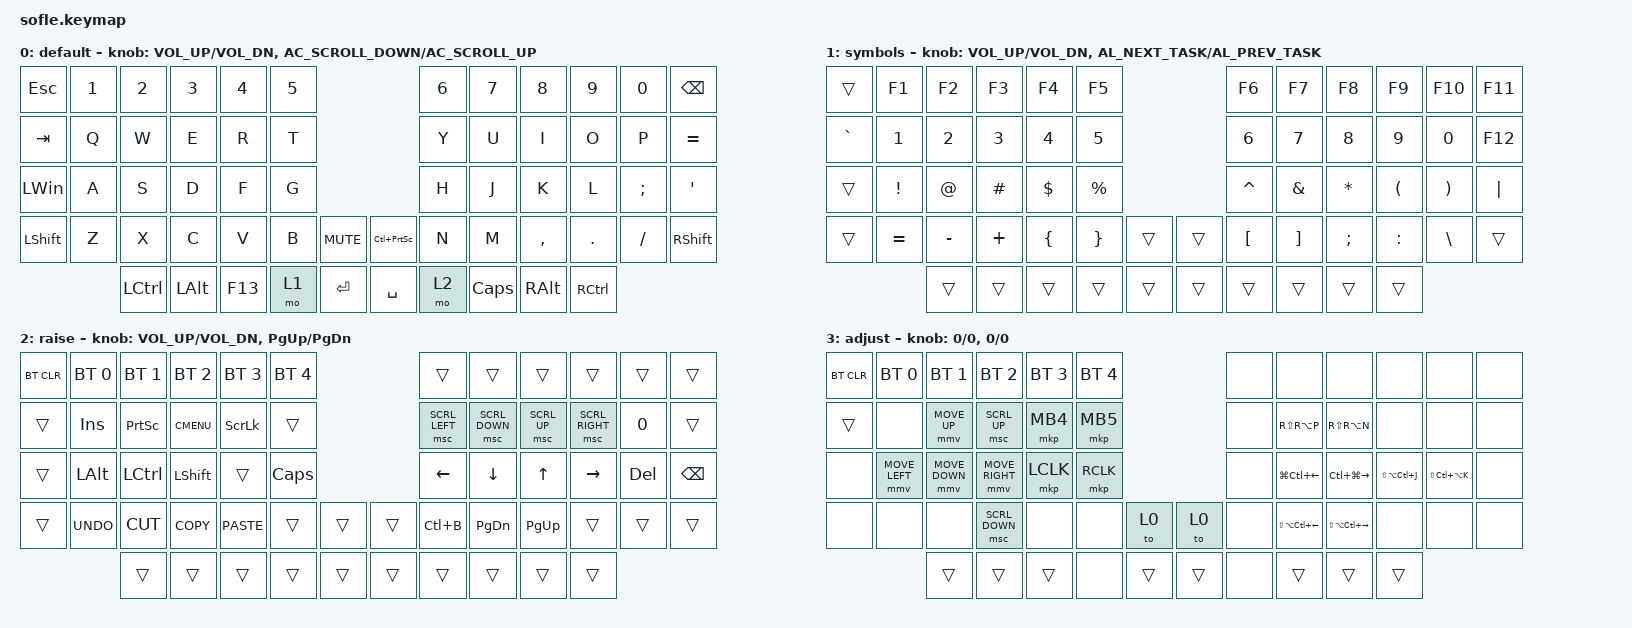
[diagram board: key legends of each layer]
/*
 * Copyright (c) 2020 The ZMK Contributors
 *
 * SPDX-License-Identifier: MIT
 */

#include <behaviors.dtsi>
#include <dt-bindings/zmk/bt.h>
#include <dt-bindings/zmk/keys.h>
#include <dt-bindings/zmk/pointing.h>

#define BASE 0
#define LOWER 1
#define RAISE 2
#define ADJUST 3
#define WIN 4

/ {
    // Activate ADJUST layer by pressing raise and lower

    conditional_layers {
        compatible = "zmk,conditional-layers";

        adjust_layer {
            if-layers = <1 2>;
            then-layer = <3>;
        };
    };

    keymap {
        compatible = "zmk,keymap";

        default_layer {
            display-name = "default";

            // ------------------------------------------------------------------------------------------------------------
            // |   `   |  1  |  2  |  3   |  4   |  5   |                   |  6   |  7    |  8    |  9   |   0   |       |
            // |  ESC  |  Q  |  W  |  E   |  R   |  T   |                   |  Y   |  U    |  I    |  O   |   P   | BKSPC |
            // |  TAB  |  A  |  S  |  D   |  F   |  G   |                   |  H   |  J    |  K    |  L   |   ;   |   '   |
            // | SHIFT |  Z  |  X  |  C   |  V   |  B   |  MUTE  |  |       |  N   |  M    |  ,    |  .   |   /   | SHIFT |
            //               | GUI | ALT  | CTRL | LOWER|  ENTER |  | SPACE | RAISE| CTRL  | ALT   | GUI  |

            bindings = <
&kp ESCAPE  &kp N1  &kp N2     &kp N3    &kp N4   &kp N5                                     &kp N6  &kp N7    &kp N8     &kp N9     &kp N0    &kp BACKSPACE
&kp TAB     &kp Q   &kp W      &kp E     &kp R    &kp T                                      &kp Y   &kp U     &kp I      &kp O      &kp P     &kp EQUAL
&kp LWIN    &kp A   &kp S      &kp D     &kp F    &kp G                                      &kp H   &kp J     &kp K      &kp L      &kp SEMI  &kp SQT
&kp LSHFT   &kp Z   &kp X      &kp C     &kp V    &kp B   &kp C_MUTE    &kp LC(PRINTSCREEN)  &kp N   &kp M     &kp COMMA  &kp DOT    &kp FSLH  &kp RSHFT
                    &kp LCTRL  &kp LALT  &kp F13  &mo 1   &kp RET       &kp SPACE            &mo 2   &kp CAPS  &kp RALT   &kp RCTRL
            >;

            sensor-bindings =
                <&inc_dec_kp C_VOL_UP C_VOL_DN>,
                <&inc_dec_kp C_AC_SCROLL_DOWN C_AC_SCROLL_UP>;
        };

        lower_layer {
            display-name = "symbols";

            // TODO: Some binds are waiting for shifted keycode support.
            // ------------------------------------------------------------------------------------------------------------
            // |       |  F1 |  F2 |  F3  |  F4  |  F5  |                   |  F6  |  F7   |  F8   |  F9  |  F10  |  F11  |
            // |   `   |  1  |  2  |  3   |  4   |  5   |                   |  6   |  7    |  8    |  9   |   0   |  F12  |
            // |       |  !  |  @  |  #   |  $   |  %   |                   |  ^   |  &    |  *    |  (   |   )   |   |   |
            // |       |  =  |  -  |  +   |  {   |  }   |        |  |       |  [   |  ]    |  ;    |  :   |   \   |       |
            //               |     |      |      |      |        |  |       |      |       |       |      |

            bindings = <
&trans     &kp F1     &kp F2     &kp F3    &kp F4    &kp F5                       &kp F6     &kp F7    &kp F8     &kp F9     &kp F10   &kp F11
&kp GRAVE  &kp N1     &kp N2     &kp N3    &kp N4    &kp N5                       &kp N6     &kp N7    &kp N8     &kp N9     &kp N0    &kp F12
&trans     &kp EXCL   &kp AT     &kp HASH  &kp DLLR  &kp PRCNT                    &kp CARET  &kp AMPS  &kp ASTRK  &kp LPAR   &kp RPAR  &kp PIPE
&trans     &kp EQUAL  &kp MINUS  &kp PLUS  &kp LBRC  &kp RBRC   &trans    &trans  &kp LBKT   &kp RBKT  &kp SEMI   &kp COLON  &kp BSLH  &trans
                      &trans     &trans    &trans    &trans     &trans    &trans  &trans     &trans    &trans     &trans
            >;

            sensor-bindings =
                <&inc_dec_kp C_VOL_UP C_VOL_DN>,
                <&inc_dec_kp C_AL_NEXT_TASK C_AL_PREV_TASK>;
        };

        raise_layer {
            display-name = "raise";

            // ------------------------------------------------------------------------------------------------------------
            // | BTCLR | BT1  | BT2  |  BT3  |  BT4  |  BT5 |                |      |      |       |      |       |       |
            // |       | INS  | PSCR | GUI   |       |      |                | PGUP |      |   ^   |      |       |       |
            // |       | ALT  | CTRL | SHIFT |       | CAPS |                | PGDN |   <- |   v   |  ->  |  DEL  | BKSPC |
            // |       | UNDO | CUT  | COPY  | PASTE |      |      |  |      |      |      |       |      |       |       |
            //                |      |       |       |      |      |  |      |      |      |       |      |

            bindings = <
&bt BT_CLR  &bt BT_SEL 0  &bt BT_SEL 1  &bt BT_SEL 2  &bt BT_SEL 3    &bt BT_SEL 4                    &trans          &trans          &trans        &trans           &trans   &trans
&trans      &kp INS       &kp PSCRN     &kp K_CMENU   &kp SCROLLLOCK  &trans                          &msc SCRL_LEFT  &msc SCRL_DOWN  &msc SCRL_UP  &msc SCRL_RIGHT  &kp N0   &trans
&trans      &kp LALT      &kp LCTRL     &kp LSHFT     &trans          &kp CLCK                        &kp LEFT        &kp DOWN        &kp UP_ARROW  &kp RIGHT        &kp DEL  &kp BSPC
&trans      &kp K_UNDO    &kp K_CUT     &kp K_COPY    &kp K_PASTE     &trans        &trans    &trans  &kp LC(B)       &kp PAGE_DOWN   &kp PAGE_UP   &trans           &trans   &trans
                          &trans        &trans        &trans          &trans        &trans    &trans  &trans          &trans          &trans        &trans
            >;

            sensor-bindings = <&inc_dec_kp C_VOL_UP C_VOL_DN &inc_dec_kp PG_UP PG_DN>;
        };

        adjust_layer {
            // ----------------------------------------------------------------------------------------------------------------------------
            // | BTCLR  |  BT1    |  BT2    |   BT3   |   BT4   |   BT5   |                  |      |      |       |      |       |       |
            // | EXTPWR | RGB_HUD | RGB_HUI | RGB_SAD | RGB_SAI | RGB_EFF |                  |      |      |       |      |       |       |
            // |        | RGB_BRD | RGB_BRI |         |         |         |                  |      |      |       |      |       |       |
            // |        |         |         |         |         |         | RGB_TOG | |      |      |      |       |      |       |       |
            //                    |         |         |         |         |         | |      |      |      |       |      |

            display-name = "adjust";
            bindings = <
&bt BT_CLR  &bt BT_SEL 0    &bt BT_SEL 1    &bt BT_SEL 2     &bt BT_SEL 3  &bt BT_SEL 4                    &none  &none                       &none                  &none              &none              &none
&trans      &none           &mmv MOVE_UP    &msc SCRL_UP     &mkp MB4      &mkp MB5                        &none  &kp RS(RA(P))               &kp RS(RA(N))          &none              &none              &none
&none       &mmv MOVE_LEFT  &mmv MOVE_DOWN  &mmv MOVE_RIGHT  &mkp LCLK     &mkp RCLK                       &none  &kp LG(LC(LEFT_ARROW))      &kp LC(LG(RIGHT))      &kp LS(LA(LC(J)))  &kp LS(LC(LA(K)))  &none
&none       &none           &none           &msc SCRL_DOWN   &none         &none         &to 0     &to 0   &none  &kp LS(LA(LC(LEFT_ARROW)))  &kp LS(LA(LC(RIGHT)))  &none              &none              &none
                            &trans          &trans           &trans        &none         &trans    &trans  &none  &trans                      &trans                 &trans
            >;

            sensor-bindings = <&inc_dec_kp 0 0>, <&inc_dec_kp 0 0>;
        };
    };
};
